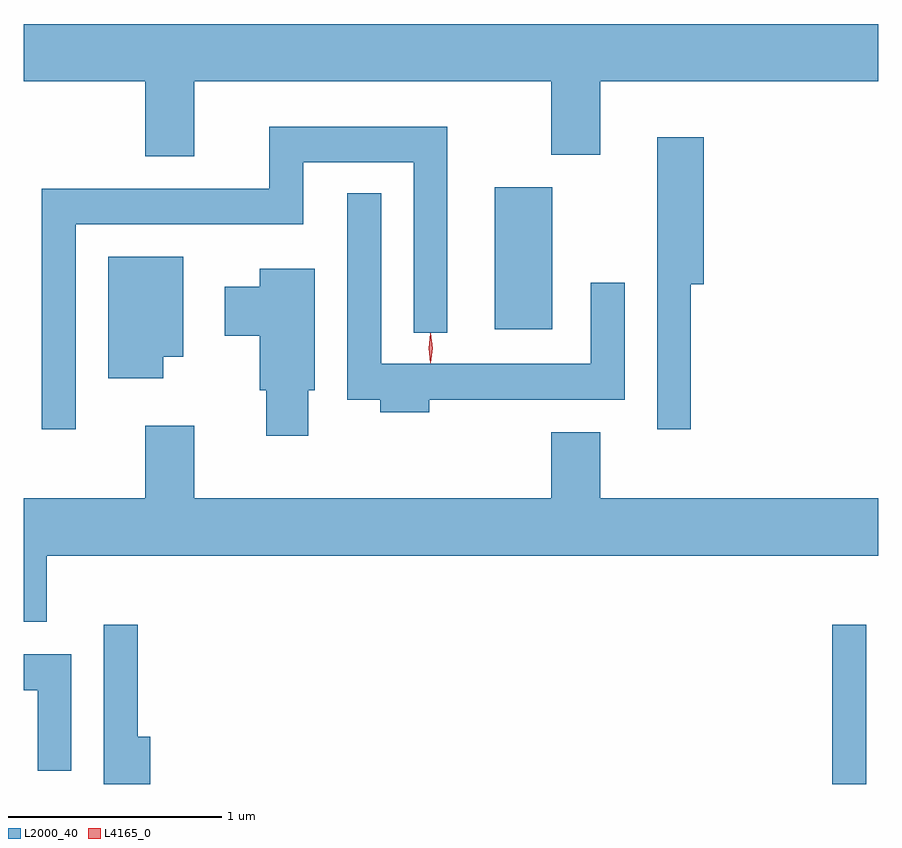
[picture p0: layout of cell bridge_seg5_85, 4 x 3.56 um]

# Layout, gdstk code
import gdstk
lib = gdstk.Library(unit=1e-6, precision=1e-09)
def R(c, l, rs):  # rectangles x0, y0, x1, y1
    for r in rs: c.add(gdstk.rectangle(r[:2], r[2:], *l))
def P(c, l, *ps):  # polygons
    for p in ps: c.add(gdstk.Polygon(p, *l))
L2000_40 = (2000, 40)
L4165_0 = (4165, 0)

bridge_seg5_85 = lib.new_cell('bridge_seg5_85')
R(bridge_seg5_85, L2000_40, [(1202.516,1497.907,1202.674,1498.653), (1200.936,1500.036,1201.204,1500.699)])
P(bridge_seg5_85, L2000_40, [(1199.529,1501.196),(1201.201,1501.196),(1201.201,1500.851),(1201.429,1500.851),(1201.429,1501.196),(1202.731,1501.196),(1202.731,1501.464),(1198.731,1501.464),(1198.731,1501.196),(1199.301,1501.196),(1199.301,1500.846),(1199.529,1500.846)],
  [(1198.974,1500.526),(1200.039,1500.526),(1200.039,1500.816),(1200.556,1500.816),(1200.556,1500.018),(1200.714,1500.018),(1200.714,1500.984),(1199.881,1500.984),(1199.881,1500.694),(1198.816,1500.694),(1198.816,1499.568),(1198.974,1499.568)],
  [(1201.854,1500.246),(1201.914,1500.246),(1201.914,1500.934),(1201.696,1500.934),(1201.696,1499.568),(1201.854,1499.568)],
  [(1200.629,1499.706),(1201.544,1499.706),(1201.544,1500.253),(1201.386,1500.253),(1201.386,1499.874),(1200.404,1499.874),(1200.404,1500.673),(1200.246,1500.673),(1200.246,1499.706),(1200.401,1499.706),(1200.401,1499.646),(1200.629,1499.646)],
  [(1199.384,1499.906),(1199.479,1499.906),(1199.479,1500.374),(1199.126,1500.374),(1199.126,1499.806),(1199.384,1499.806)],
  [(1200.064,1499.751),(1200.094,1499.751),(1200.094,1500.319),(1199.836,1500.319),(1199.836,1500.234),(1199.671,1500.234),(1199.671,1500.006),(1199.836,1500.006),(1199.836,1499.751),(1199.866,1499.751),(1199.866,1499.536),(1200.064,1499.536)],
  [(1198.839,1498.976),(1202.731,1498.976),(1202.731,1499.244),(1201.429,1499.244),(1201.429,1499.554),(1201.201,1499.554),(1201.201,1499.244),(1199.529,1499.244),(1199.529,1499.584),(1199.301,1499.584),(1199.301,1499.244),(1198.731,1499.244),(1198.731,1498.666),(1198.839,1498.666)],
  [(1199.324,1498.129),(1199.264,1498.129),(1199.264,1498.653),(1199.106,1498.653),(1199.106,1497.907),(1199.324,1497.907)],
  [(1198.954,1498.514),(1198.731,1498.514),(1198.731,1498.346),(1198.796,1498.346),(1198.796,1497.968),(1198.954,1497.968)])
P(bridge_seg5_85, L4165_0, [(1200.636,1499.877),(1200.635,1499.878),(1200.626,1499.947),(1200.635,1500.016),(1200.636,1500.016),(1200.636,1500.016),(1200.646,1499.947),(1200.636,1499.878)],
  [(1200.636,1499.879),(1200.636,1499.88),(1200.626,1499.946),(1200.636,1500.012),(1200.636,1500.013),(1200.636,1500.012),(1200.646,1499.946),(1200.637,1499.88)])

lib.write_gds('bridge_seg5_85.gds')
